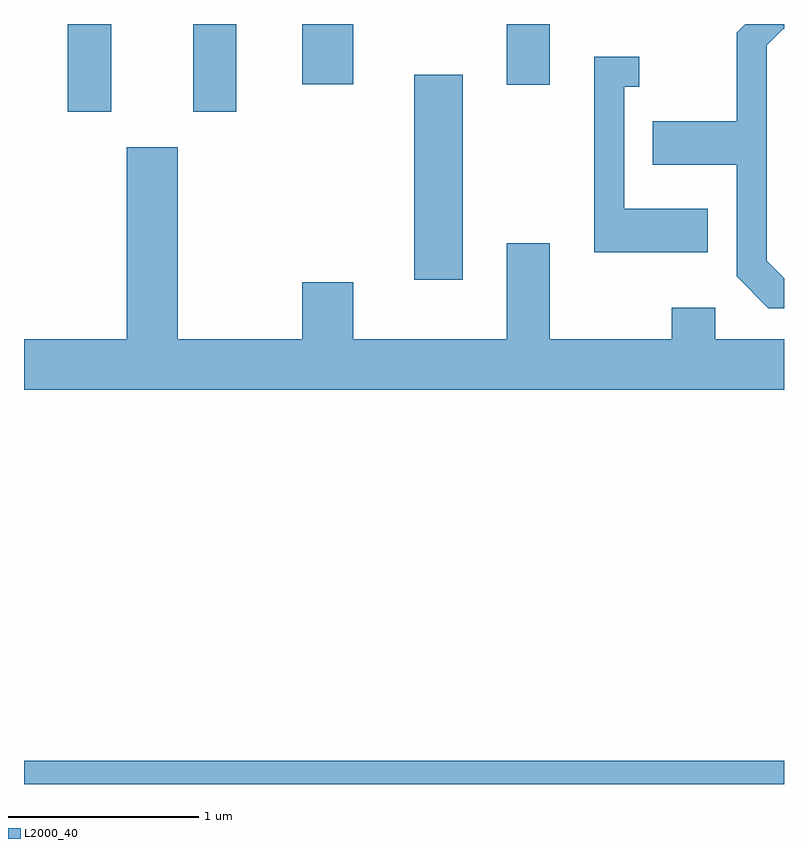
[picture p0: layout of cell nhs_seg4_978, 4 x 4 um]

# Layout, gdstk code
import gdstk
lib = gdstk.Library(unit=1e-6, precision=1e-09)
def R(c, l, rs):  # rectangles x0, y0, x1, y1
    for r in rs: c.add(gdstk.rectangle(r[:2], r[2:], *l))
def P(c, l, *ps):  # polygons
    for p in ps: c.add(gdstk.Polygon(p, *l))
L2000_40 = (2000, 40)

nhs_seg4_978 = lib.new_cell('nhs_seg4_978')
R(nhs_seg4_978, L2000_40, [(213.611,1305.982,217.611,1306.104), (215.666,1308.636,215.919,1309.714), (213.841,1309.521,214.069,1309.982), (214.501,1309.521,214.729,1309.982), (216.151,1309.661,216.379,1309.982), (215.076,1309.666,215.344,1309.982)])
P(nhs_seg4_978, L2000_40, [(217.611,1308.645),(217.519,1308.737),(217.519,1309.869),(217.607,1309.956),(217.611,1309.956),(217.611,1309.982),(217.406,1309.982),(217.361,1309.937),(217.361,1309.469),(216.921,1309.469),(216.921,1309.241),(217.361,1309.241),(217.361,1308.654),(217.529,1308.486),(217.611,1308.486)],
  [(217.209,1309.009),(216.769,1309.009),(216.769,1309.651),(216.848,1309.651),(216.848,1309.809),(216.611,1309.809),(216.611,1308.781),(217.209,1308.781)],
  [(217.611,1308.324),(217.249,1308.324),(217.249,1308.489),(217.021,1308.489),(217.021,1308.324),(216.379,1308.324),(216.379,1308.829),(216.151,1308.829),(216.151,1308.324),(215.344,1308.324),(215.344,1308.624),(215.076,1308.624),(215.076,1308.324),(214.419,1308.324),(214.419,1309.334),(214.151,1309.334),(214.151,1308.324),(213.611,1308.324),(213.611,1308.056),(217.611,1308.056)])

lib.write_gds('nhs_seg4_978.gds')
